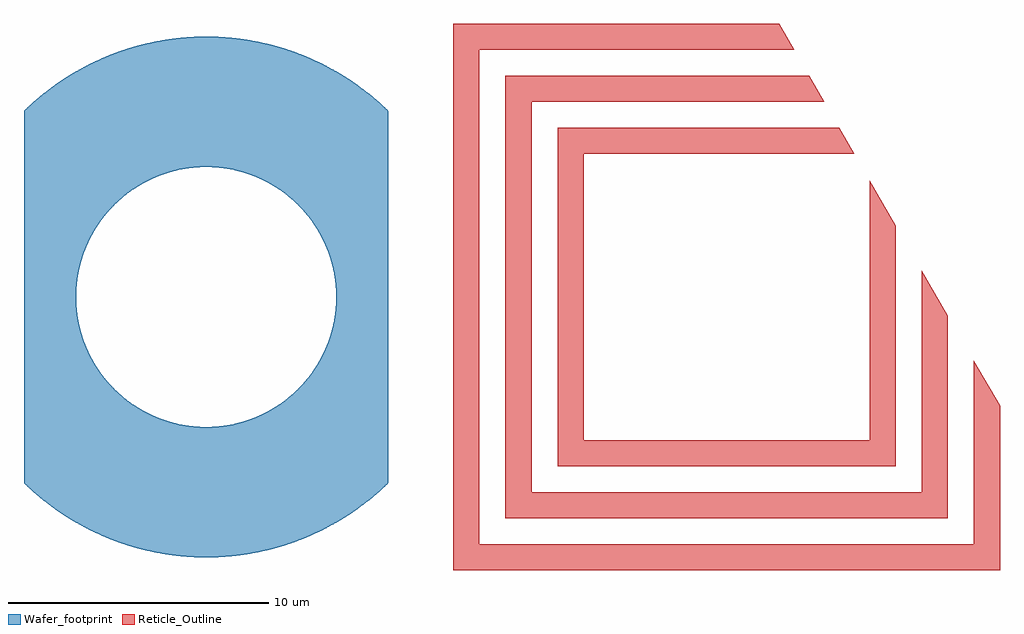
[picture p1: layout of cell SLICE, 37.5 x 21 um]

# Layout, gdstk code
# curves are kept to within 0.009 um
import gdstk
lib = gdstk.Library(unit=1e-6, precision=1e-09)
def P(c, l, *ps):  # polygons
    for p in ps: c.add(gdstk.Polygon(p, *l))
Wafer_footprint = (1, 0)
Reticle_Outline = (2, 0)

slice = lib.new_cell('SLICE')
P(slice, Wafer_footprint, [(7,0.689),(4.976,0.49),(5,0),(7,0)],
  [(7,0.689),(7,1.392),(4.904,0.975),(4.976,0.49)],
  [(7,1.392),(7,2.123),(4.785,1.451),(4.904,0.975)],
  [(7,2.123),(7,2.899),(4.619,1.913),(4.785,1.451)],
  [(7,2.899),(7,3.742),(4.41,2.357),(4.619,1.913)],
  [(7,3.742),(7,4.677),(4.157,2.778),(4.41,2.357)],
  [(7,4.677),(7,5.745),(3.865,3.172),(4.157,2.778)],
  [(7,5.745),(7,7),(3.536,3.536),(3.865,3.172)],
  [(7,7),(7,7.141),(6.667,7.454),(6.344,7.73),(3.172,3.865),(3.536,3.536)],
  [(6.344,7.73),(5.994,8.005),(5.556,8.315),(2.778,4.157),(3.172,3.865)],
  [(5.556,8.315),(5.189,8.549),(4.714,8.819),(2.357,4.41),(2.778,4.157)],
  [(4.714,8.819),(4.308,9.025),(3.827,9.239),(1.913,4.619),(2.357,4.41)],
  [(3.827,9.239),(3.355,9.421),(2.903,9.569),(1.451,4.785),(1.913,4.619)],
  [(2.903,9.569),(2.445,9.697),(1.951,9.808),(0.975,4.904),(1.451,4.785)],
  [(1.951,9.808),(1.462,9.893),(0.98,9.952),(0.49,4.976),(0.975,4.904)],
  [(0.98,9.952),(0.476,9.989),(0,10),(0,5),(0.49,4.976)],
  [(-0.48,4.977),(0,5),(0,10),(-0.476,9.989),(-0.98,9.952),(-0.49,4.976)],
  [(-0.97,4.905),(-0.49,4.976),(-0.98,9.952),(-1.462,9.893),(-1.951,9.808)],
  [(-1.447,4.786),(-0.975,4.904),(-1.951,9.808),(-2.445,9.697),(-2.903,9.569)],
  [(-1.909,4.621),(-1.451,4.785),(-2.903,9.569),(-3.355,9.421),(-3.827,9.239)],
  [(-2.353,4.412),(-1.913,4.619),(-3.827,9.239),(-4.308,9.025),(-4.714,8.819)],
  [(-2.774,4.16),(-2.357,4.41),(-4.714,8.819),(-5.189,8.549),(-5.556,8.315)],
  [(-3.164,3.871),(-2.778,4.157),(-5.556,8.315),(-5.994,8.005),(-6.344,7.73),(-3.172,3.865)],
  [(-3.532,3.539),(-3.172,3.865),(-6.344,7.73),(-6.667,7.454),(-7,7.141),(-7,7)],
  [(-3.859,3.18),(-3.536,3.536),(-7,7),(-7,5.745),(-3.865,3.172)],
  [(-4.155,2.782),(-3.865,3.172),(-7,5.745),(-7,4.677)],
  [(-4.407,2.361),(-4.157,2.778),(-7,4.677),(-7,3.742)],
  [(-4.617,1.918),(-4.41,2.357),(-7,3.742),(-7,2.899)],
  [(-4.783,1.456),(-4.619,1.913),(-7,2.899),(-7,2.123)],
  [(-4.889,1.05),(-4.785,1.451),(-7,2.123),(-7,1.392),(-4.904,0.975)],
  [(-4.975,0.495),(-4.904,0.975),(-7,1.392),(-7,0.689)],
  [(-5,0.066),(-4.976,0.49),(-7,0.689),(-7,0),(-5,0)],
  [(-4.976,-0.49),(-5,0),(-7,0),(-7,-0.689)],
  [(-4.904,-0.975),(-4.976,-0.49),(-7,-0.689),(-7,-1.392)],
  [(-4.785,-1.451),(-4.904,-0.975),(-7,-1.392),(-7,-2.123)],
  [(-4.619,-1.913),(-4.785,-1.451),(-7,-2.123),(-7,-2.899)],
  [(-4.41,-2.357),(-4.619,-1.913),(-7,-2.899),(-7,-3.742)],
  [(-4.157,-2.778),(-4.41,-2.357),(-7,-3.742),(-7,-4.677)],
  [(-3.865,-3.172),(-4.157,-2.778),(-7,-4.677),(-7,-5.745)],
  [(-3.536,-3.536),(-3.865,-3.172),(-7,-5.745),(-7,-7)],
  [(-3.172,-3.865),(-3.536,-3.536),(-7,-7),(-7,-7.141),(-6.667,-7.454),(-6.344,-7.73)],
  [(-2.778,-4.157),(-3.172,-3.865),(-6.344,-7.73),(-5.994,-8.005),(-5.556,-8.315)],
  [(-2.357,-4.41),(-2.778,-4.157),(-5.556,-8.315),(-5.189,-8.549),(-4.714,-8.819)],
  [(-1.913,-4.619),(-2.357,-4.41),(-4.714,-8.819),(-4.308,-9.025),(-3.827,-9.239)],
  [(-1.451,-4.785),(-1.913,-4.619),(-3.827,-9.239),(-3.355,-9.421),(-2.903,-9.569)],
  [(-0.975,-4.904),(-1.451,-4.785),(-2.903,-9.569),(-2.445,-9.697),(-1.951,-9.808)],
  [(-0.49,-4.976),(-0.975,-4.904),(-1.951,-9.808),(-1.462,-9.893),(-0.98,-9.952)],
  [(0,-5),(-0.49,-4.976),(-0.98,-9.952),(-0.476,-9.989),(0,-10)],
  [(0.101,-9.999),(0.556,-9.985),(0.98,-9.952),(0.49,-4.976),(0,-5),(0,-10)],
  [(1.02,-9.948),(1.502,-9.887),(1.951,-9.808),(0.975,-4.904),(0.49,-4.976),(0.98,-9.952)],
  [(2.001,-9.798),(2.445,-9.697),(2.903,-9.569),(1.451,-4.785),(0.975,-4.904),(1.951,-9.808)],
  [(2.913,-9.566),(3.355,-9.421),(3.827,-9.239),(1.913,-4.619),(1.451,-4.785),(2.903,-9.569)],
  [(3.836,-9.235),(4.308,-9.025),(4.714,-8.819),(2.357,-4.41),(1.913,-4.619),(3.827,-9.239)],
  [(4.723,-8.814),(5.189,-8.549),(5.556,-8.315),(2.778,-4.157),(2.357,-4.41),(4.714,-8.819)],
  [(5.564,-8.309),(5.994,-8.005),(6.344,-7.73),(3.172,-3.865),(2.778,-4.157),(5.556,-8.315)],
  [(6.352,-7.724),(6.667,-7.454),(7,-7.141),(7,-7),(3.536,-3.536),(3.172,-3.865),(6.344,-7.73)],
  [(7,-5.745),(3.865,-3.172),(3.536,-3.536),(7,-7)],
  [(7,-4.677),(4.157,-2.778),(3.865,-3.172),(7,-5.745)],
  [(7,-3.742),(4.41,-2.357),(4.157,-2.778),(7,-4.677)],
  [(7,-2.899),(4.619,-1.913),(4.41,-2.357),(7,-3.742)],
  [(7,-2.123),(4.785,-1.451),(4.619,-1.913),(7,-2.899)],
  [(7,-1.392),(4.904,-0.975),(4.785,-1.451),(7,-2.123)],
  [(7,-0.689),(4.976,-0.49),(4.904,-0.975),(7,-1.392)],
  [(7,0),(5,0),(4.976,-0.49),(7,-0.689)])
P(slice, Reticle_Outline, [(24.908,5.5),(24.33,6.5),(13.5,6.5),(13.5,-6.5),(26.5,-6.5),(26.5,2.742),(25.5,4.473),(25.5,-5.5),(14.5,-5.5),(14.5,5.5)],
  [(23.753,7.5),(23.176,8.5),(11.5,8.5),(11.5,-8.5),(28.5,-8.5),(28.5,-0.722),(27.5,1.01),(27.5,-7.5),(12.5,-7.5),(12.5,7.5)],
  [(22.598,9.5),(22.021,10.5),(9.5,10.5),(9.5,-10.5),(30.5,-10.5),(30.5,-4.186),(29.5,-2.454),(29.5,-9.5),(10.5,-9.5),(10.5,9.5)])

lib.write_gds('SLICE.gds')
